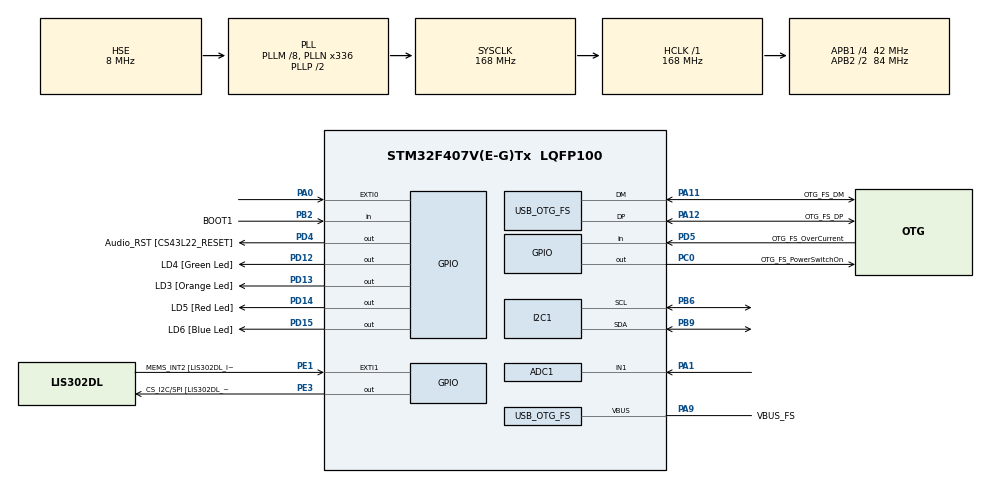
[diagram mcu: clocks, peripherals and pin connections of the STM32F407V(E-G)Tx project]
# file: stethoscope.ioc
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ADC1.Channel-0\#ChannelRegularConversion=ADC_CHANNEL_1
ADC1.DMAContinuousRequests=ENABLE
ADC1.ExternalTrigConv=ADC_EXTERNALTRIGCONV_T2_TRGO
ADC1.InjNumberOfConversion=0
ADC1.NbrOfConversion=1
ADC1.NbrOfConversionFlag=1
ADC1.Rank-0\#ChannelRegularConversion=1
ADC1.SamplingTime-0\#ChannelRegularConversion=ADC_SAMPLETIME_480CYCLES
ADC1.master=1
Dma.ADC1.0.Direction=DMA_PERIPH_TO_MEMORY
Dma.ADC1.0.FIFOMode=DMA_FIFOMODE_DISABLE
Dma.ADC1.0.Instance=DMA2_Stream0
Dma.ADC1.0.MemDataAlignment=DMA_MDATAALIGN_HALFWORD
Dma.ADC1.0.MemInc=DMA_MINC_ENABLE
Dma.ADC1.0.Mode=DMA_CIRCULAR
Dma.ADC1.0.PeriphDataAlignment=DMA_PDATAALIGN_HALFWORD
Dma.ADC1.0.PeriphInc=DMA_PINC_DISABLE
Dma.ADC1.0.Priority=DMA_PRIORITY_MEDIUM
Dma.I2C1_TX.1.Direction=DMA_MEMORY_TO_PERIPH
Dma.I2C1_TX.1.FIFOMode=DMA_FIFOMODE_DISABLE
Dma.I2C1_TX.1.Instance=DMA1_Stream6
Dma.I2C1_TX.1.MemDataAlignment=DMA_MDATAALIGN_BYTE
Dma.I2C1_TX.1.MemInc=DMA_MINC_ENABLE
Dma.I2C1_TX.1.Mode=DMA_NORMAL
Dma.I2C1_TX.1.PeriphDataAlignment=DMA_PDATAALIGN_BYTE
Dma.I2C1_TX.1.PeriphInc=DMA_PINC_DISABLE
Dma.I2C1_TX.1.Priority=DMA_PRIORITY_LOW
Dma.Request0=ADC1
Dma.Request1=I2C1_TX
Mcu.Family=STM32F4
Mcu.Name=STM32F407V(E-G)Tx
Mcu.Package=LQFP100
NVIC.ADC_IRQn=true\:0\:0\:false\:false\:true\:true\:true\:true
NVIC.DMA1_Stream6_IRQn=true\:0\:0\:false\:false\:true\:false\:true\:true
NVIC.DMA2_Stream0_IRQn=true\:0\:0\:false\:false\:true\:false\:true\:true
NVIC.EXTI0_IRQn=true\:0\:0\:false\:false\:true\:true\:true\:true
NVIC.I2C1_ER_IRQn=true\:0\:0\:false\:false\:true\:true\:true\:true
NVIC.I2C1_EV_IRQn=true\:0\:0\:false\:false\:true\:true\:true\:true
NVIC.OTG_FS_IRQn=true\:0\:0\:false\:false\:true\:true\:true\:true
NVIC.PriorityGroup=NVIC_PRIORITYGROUP_0
NVIC.TIM2_IRQn=true\:0\:0\:false\:false\:true\:true\:true\:true
PA0-WKUP.GPIO_PuPd=GPIO_PULLDOWN
PA0-WKUP.Signal=GPXTI0
PA1.Signal=ADCx_IN1
PA10.GPIO_Label=OTG_FS_ID
PA10.GPIO_Mode=GPIO_MODE_AF_PP
PA10.GPIO_PuPd=GPIO_NOPULL
PA10.GPIO_Speed=GPIO_SPEED_FREQ_LOW
PA10.Signal=USB_OTG_FS_ID
PA11.GPIO_Label=OTG_FS_DM
PA11.GPIO_Mode=GPIO_MODE_AF_PP
PA11.GPIO_PuPd=GPIO_NOPULL
PA11.GPIO_Speed=GPIO_SPEED_FREQ_LOW
PA11.Mode=Host_Only
PA11.Signal=USB_OTG_FS_DM
PA12.GPIO_Label=OTG_FS_DP
PA12.GPIO_Mode=GPIO_MODE_AF_PP
PA12.GPIO_PuPd=GPIO_NOPULL
PA12.GPIO_Speed=GPIO_SPEED_FREQ_LOW
PA12.Mode=Host_Only
PA12.Signal=USB_OTG_FS_DP
PA13.GPIO_Label=SWDIO
PA13.Mode=Serial_Wire
PA13.Signal=SYS_JTMS-SWDIO
PA14.GPIO_Label=SWCLK
PA14.Mode=Serial_Wire
PA14.Signal=SYS_JTCK-SWCLK
PA4.GPIO_Label=I2S3_WS [CS43L22_LRCK]
PA4.GPIO_Mode=GPIO_MODE_AF_PP
PA4.GPIO_PuPd=GPIO_NOPULL
PA4.GPIO_Speed=GPIO_SPEED_FREQ_LOW
PA4.Signal=I2S3_WS
PA5.GPIO_Label=SPI1_SCK [LIS302DL_SCL/SPC]
PA5.GPIO_Mode=GPIO_MODE_AF_PP
PA5.GPIO_PuPd=GPIO_NOPULL
PA5.GPIO_Speed=GPIO_SPEED_FREQ_LOW
PA5.Signal=SPI1_SCK
PA6.GPIO_Label=SPI1_MISO [LIS302DL_SDO]
PA6.GPIO_Mode=GPIO_MODE_AF_PP
PA6.GPIO_PuPd=GPIO_NOPULL
PA6.GPIO_Speed=GPIO_SPEED_FREQ_LOW
PA6.Signal=SPI1_MISO
PA7.GPIO_Label=SPI1_MOSI [LIS302DL_SDA/SDI/SDO]
PA7.GPIO_Mode=GPIO_MODE_AF_PP
PA7.GPIO_PuPd=GPIO_NOPULL
PA7.GPIO_Speed=GPIO_SPEED_FREQ_LOW
PA7.Signal=SPI1_MOSI
PA9.GPIO_Label=VBUS_FS
PA9.GPIO_Mode=GPIO_MODE_INPUT
PA9.GPIO_PuPd=GPIO_NOPULL
PA9.Mode=Activate_VBUS
PA9.Signal=USB_OTG_FS_VBUS
PB10.GPIO_Label=CLK_IN [MP45DT02_CLK]
PB10.GPIO_Mode=GPIO_MODE_AF_PP
PB10.GPIO_PuPd=GPIO_NOPULL
PB10.GPIO_Speed=GPIO_SPEED_FREQ_LOW
PB10.Signal=I2S2_CK
PB2.GPIO_Label=BOOT1
PB2.GPIO_Mode=GPIO_MODE_INPUT
PB2.GPIO_PuPd=GPIO_NOPULL
PB2.Signal=GPIO_Input
PB3.GPIO_Label=SWO
PB3.Signal=SYS_JTDO-SWO
PB6.Mode=I2C
PB6.Signal=I2C1_SCL
PB9.Mode=I2C
PB9.Signal=I2C1_SDA
PC0.GPIO_Label=OTG_FS_PowerSwitchOn
PC0.GPIO_PuPd=GPIO_NOPULL
PC0.GPIO_Speed=GPIO_SPEED_FREQ_LOW
PC0.PinState=GPIO_PIN_SET
PC0.Signal=GPIO_Output
PC10.GPIO_Label=I2S3_SCK [CS43L22_SCLK]
PC10.GPIO_Mode=GPIO_MODE_AF_PP
PC10.GPIO_PuPd=GPIO_NOPULL
PC10.GPIO_Speed=GPIO_SPEED_FREQ_LOW
PC10.Signal=I2S3_CK
PC12.GPIO_Label=I2S3_SD [CS43L22_SDIN]
PC12.GPIO_Mode=GPIO_MODE_AF_PP
PC12.GPIO_PuPd=GPIO_NOPULL
PC12.GPIO_Speed=GPIO_SPEED_FREQ_LOW
PC12.Signal=I2S3_SD
PC14-OSC32_IN.GPIO_Label=PC14-OSC32_IN
PC14-OSC32_IN.Mode=LSE-External-Oscillator
PC14-OSC32_IN.Signal=RCC_OSC32_IN
PC15-OSC32_OUT.GPIO_Label=PC15-OSC32_OUT
PC15-OSC32_OUT.Mode=LSE-External-Oscillator
PC15-OSC32_OUT.Signal=RCC_OSC32_OUT
PC3.GPIO_Label=PDM_OUT [MP45DT02_DOUT]
PC3.GPIO_Mode=GPIO_MODE_AF_PP
PC3.GPIO_PuPd=GPIO_NOPULL
PC3.GPIO_Speed=GPIO_SPEED_FREQ_LOW
PC3.Signal=I2S2_SD
PC7.GPIO_Label=I2S3_MCK [CS43L22_MCLK]
PC7.GPIO_Mode=GPIO_MODE_AF_PP
PC7.GPIO_PuPd=GPIO_NOPULL
PC7.GPIO_Speed=GPIO_SPEED_FREQ_LOW
PC7.Signal=I2S3_MCK
PD12.GPIO_Label=LD4 [Green Led]
PD12.GPIO_PuPd=GPIO_NOPULL
PD12.GPIO_Speed=GPIO_SPEED_FREQ_LOW
PD12.Signal=GPIO_Output
PD13.GPIO_Label=LD3 [Orange Led]
PD13.GPIO_PuPd=GPIO_NOPULL
PD13.GPIO_Speed=GPIO_SPEED_FREQ_LOW
PD13.Signal=GPIO_Output
PD14.GPIO_Label=LD5 [Red Led]
PD14.GPIO_PuPd=GPIO_NOPULL
PD14.GPIO_Speed=GPIO_SPEED_FREQ_LOW
PD14.Signal=GPIO_Output
PD15.GPIO_Label=LD6 [Blue Led]
PD15.GPIO_PuPd=GPIO_NOPULL
PD15.GPIO_Speed=GPIO_SPEED_FREQ_LOW
PD15.Signal=GPIO_Output
PD4.GPIO_Label=Audio_RST [CS43L22_RESET]
PD4.GPIO_PuPd=GPIO_NOPULL
PD4.GPIO_Speed=GPIO_SPEED_FREQ_LOW
PD4.Signal=GPIO_Output
PD5.GPIO_Label=OTG_FS_OverCurrent
PD5.GPIO_Mode=GPIO_MODE_INPUT
PD5.GPIO_PuPd=GPIO_NOPULL
PD5.Signal=GPIO_Input
PE1.GPIO_Label=MEMS_INT2 [LIS302DL_INT2]
PE1.GPIO_ModeDefaultEXTI=GPIO_MODE_EVT_RISING
PE1.GPIO_PuPd=GPIO_NOPULL
PE1.Signal=GPXTI1
PE3.GPIO_Label=CS_I2C/SPI [LIS302DL_CS_I2C/SPI]
PE3.GPIO_PuPd=GPIO_NOPULL
PE3.GPIO_Speed=GPIO_SPEED_FREQ_LOW
PE3.Signal=GPIO_Output
PH0-OSC_IN.GPIO_Label=PH0-OSC_IN
PH0-OSC_IN.Mode=HSE-External-Oscillator
PH0-OSC_IN.Signal=RCC_OSC_IN
PH1-OSC_OUT.GPIO_Label=PH1-OSC_OUT
PH1-OSC_OUT.Mode=HSE-External-Oscillator
PH1-OSC_OUT.Signal=RCC_OSC_OUT
ProjectManager.HeapSize=0x200
ProjectManager.StackSize=0x400
ProjectManager.TargetToolchain=STM32CubeIDE
RCC.48MHZClocksFreq_Value=48000000
RCC.AHBFreq_Value=168000000
RCC.APB1CLKDivider=RCC_HCLK_DIV4
RCC.APB1Freq_Value=42000000
RCC.APB1TimFreq_Value=84000000
RCC.APB2CLKDivider=RCC_HCLK_DIV2
RCC.APB2Freq_Value=84000000
RCC.APB2TimFreq_Value=168000000
RCC.CortexFreq_Value=168000000
RCC.HCLKFreq_Value=168000000
RCC.HSE_VALUE=8000000
RCC.HSI_VALUE=16000000
RCC.PLLM=8
RCC.PLLN=336
RCC.PLLQ=7
RCC.SYSCLKFreq_VALUE=168000000
RCC.SYSCLKSource=RCC_SYSCLKSOURCE_PLLCLK
RCC.VCOOutputFreq_Value=336000000
SH.ADCx_IN1.0=ADC1_IN1,IN1
TIM2.Period=249
TIM2.Prescaler=83
TIM2.TIM_MasterOutputTrigger=TIM_TRGO_UPDATE
TIM2.TIM_MasterSlaveMode=TIM_MASTERSLAVEMODE_DISABLE
USB_HOST.BSP.number=1
USB_HOST.USBH_HandleTypeDef-CDC_FS=hUsbHostFS
USB_HOST.VirtualModeFS=Cdc
USB_HOST0.BSP.STBoard=false
USB_HOST0.BSP.api=Unknown
USB_HOST0.BSP.instance=PC0
USB_HOST0.BSP.ip=GPIO
USB_HOST0.BSP.mode=Output
USB_HOST0.BSP.name=Drive_VBUS_FS
USB_HOST0.BSP.solution=PC0
USB_OTG_FS.VirtualMode=Host_Only
USB_OTG_FS.phy_itface=HCD_PHY_EMBEDDED
VP_TIM2_VS_ClockSourceINT.Mode=Internal
VP_USB_HOST_VS_USB_HOST_CDC_FS.Mode=CDC_FS
board=STM32F407G-DISC1

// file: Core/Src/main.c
/* USER CODE BEGIN Header */
/**
  ******************************************************************************
  * @file           : main.c
  * @brief          : Main program body
  ******************************************************************************
  * @attention
  *
  * Copyright (c) 2026 STMicroelectronics.
  * All rights reserved.
  *
  * This software is licensed under terms that can be found in the LICENSE file
  * in the root directory of this software component.
  * If no LICENSE file comes with this software, it is provided AS-IS.
  *
  ******************************************************************************
  */
/* USER CODE END Header */
#include "main.h"
#include "usb_host.h"

/* USER CODE BEGIN Includes */
#include "ssd1306.h"
#include "ssd1306_fonts.h"
#include <string.h>
#include <stdio.h>

#define SSD1306_INCLUDE_FONT_7x10
//#include "ssd1306.c"
/* USER CODE END Includes */

ADC_HandleTypeDef hadc1;
DMA_HandleTypeDef hdma_adc1;

I2C_HandleTypeDef hi2c1;
DMA_HandleTypeDef hdma_i2c1_tx;

TIM_HandleTypeDef htim2;

/* USER CODE BEGIN PV */

uint32_t last_beat_time = 0;
uint16_t current_bpm = 0;
uint8_t beat_lockout = 0;
uint32_t beat_intervals[4] = {0, 0, 0, 0};
uint8_t beat_index = 0;
uint16_t display_bpm = 0;

/* USER CODE END PV */

void SystemClock_Config(void);
static void MX_GPIO_Init(void);
static void MX_DMA_Init(void);
static void MX_ADC1_Init(void);
static void MX_TIM2_Init(void);
static void MX_I2C1_Init(void);
void MX_USB_HOST_Process(void);

/* USER CODE BEGIN 0 */
int32_t raw_val;
int32_t centered;
int32_t current_center;
uint16_t processed_samples[128];
uint16_t heart_buffer[1000];
float filtered_value = 1800.0f;
float alpha = 0.01f;
volatile uint8_t data_ready = 0;
volatile int16_t current_gain = 2;

void Process_Heartbeat(uint16_t raw_sample) {
    // Basic Low-Pass Filter logic
    filtered_value = (alpha * raw_sample) + ((1.0f - alpha) * filtered_value);
}

void HAL_ADC_ConvHalfCpltCallback(ADC_HandleTypeDef* hadc) {
	if(hadc->Instance == ADC1) {
		for(int i = 0; i < 500; i++) {
			Process_Heartbeat(heart_buffer[i]);
		}
	}
}

void HAL_ADC_ConvCpltCallback(ADC_HandleTypeDef* hadc) {
    if(hadc->Instance == ADC1) {
        int sample_count = 0;

        for(int i = 0; i < 1000; i++) {
            Process_Heartbeat(heart_buffer[i]);

            if (i % 7 == 0 && sample_count < 128) {
                processed_samples[sample_count] = (uint16_t)filtered_value;
                sample_count++;
            }
        }
        data_ready = 1;
        //HAL_GPIO_TogglePin(GPIOD, GPIO_PIN_12);
    }
}

void HAL_GPIO_EXTI_Callback(uint16_t GPIO_Pin) {
    if (GPIO_Pin == GPIO_PIN_0) {
    	if (current_gain == 2) current_gain = 4;
    	else if (current_gain == 4) current_gain = 8;
    	else if (current_gain == 8) current_gain = 1;
    	else current_gain = 2;
    }
}

/* USER CODE END 0 */

int main(void)
{

  /* MCU Configuration--------------------------------------------------------*/

  /* Reset of all peripherals, Initializes the Flash interface and the Systick. */
  HAL_Init();

  /* Configure the system clock */
  SystemClock_Config();

  /* Initialize all configured peripherals */
  MX_GPIO_Init();
  MX_DMA_Init();
  MX_ADC1_Init();
  MX_TIM2_Init();
  MX_USB_HOST_Init();
  MX_I2C1_Init();
  /* USER CODE BEGIN 2 */

  ssd1306_Init(&hi2c1);
  HAL_Delay(1);

  HAL_TIM_Base_Start(&htim2);

  HAL_ADC_Start_DMA(&hadc1, (uint32_t*)heart_buffer, 1000);
  /* USER CODE END 2 */

  /* Infinite loop */
  /* USER CODE BEGIN WHILE */
  while (1)
  {

	  //Sample drawing and calculating start -------------------------------------
	  int32_t sum = 0;
	  for(int i=0; i<128; i++) sum += processed_samples[i];
	  current_center = sum / 128;
	  while (hi2c1.State != HAL_I2C_STATE_READY);
	  HAL_Delay(1);

	  memset(SSD1306_Buffer, 0, 1024);

	  for(int x = 0; x < 128; x++) {
	  	raw_val = processed_samples[x];

	  	centered = (int32_t)raw_val - current_center;

	  	int16_t y_plot = 32 - (centered * current_gain);

	  	if(y_plot < 0)  y_plot = 0;
	  	if(y_plot > 63) y_plot = 63;

	  	ssd1306_DrawPixel(x, (uint8_t)y_plot, 1);
      }
	  //Sample drawing and calculating end -----------------------------------------

	  //BPM Counter Start -------------------------------------
	  if (HAL_GetTick() - last_beat_time > 3000) {
	      current_bpm = 0;
	  }

	  if (centered > 8 && beat_lockout == 0) {
	      uint32_t now = HAL_GetTick();
	      uint32_t duration = now - last_beat_time;

	      if (duration > 400 && duration < 2000) {
	          current_bpm = 60000 / duration;
	          last_beat_time = now;
	          beat_lockout = 1;

	          HAL_GPIO_TogglePin(GPIOD, GPIO_PIN_13);
	      }
	  }

	  if (centered < 3) {
	      beat_lockout = 0;
	  }

	  char bpm_str[12];
	  sprintf(bpm_str, "~ %d", current_bpm);
	  ssd1306_SetCursor(0, 0); // Top Left
	  ssd1306_WriteString(bpm_str, Font_7x10, 1);
	  //BPM Counter End ------------------------------------------

	  char zoom_str[10];
	  sprintf(zoom_str, "x%d", current_gain);
	  ssd1306_SetCursor(95, 0); // top right
	  ssd1306_WriteString(zoom_str, Font_7x10, 1);

	  ssd1306_UpdateScreen(&hi2c1);

    /* USER CODE END WHILE */
    MX_USB_HOST_Process();

  }
}

void SystemClock_Config(void)
{
  RCC_OscInitTypeDef RCC_OscInitStruct = {0};
  RCC_ClkInitTypeDef RCC_ClkInitStruct = {0};

  /** Configure the main internal regulator output voltage
  */
  __HAL_RCC_PWR_CLK_ENABLE();
  __HAL_PWR_VOLTAGESCALING_CONFIG(PWR_REGULATOR_VOLTAGE_SCALE1);

  /** Initializes the RCC Oscillators according to the specified parameters
  * in the RCC_OscInitTypeDef structure.
  */
  RCC_OscInitStruct.OscillatorType = RCC_OSCILLATORTYPE_HSE;
  RCC_OscInitStruct.HSEState = RCC_HSE_ON;
  RCC_OscInitStruct.PLL.PLLState = RCC_PLL_ON;
  RCC_OscInitStruct.PLL.PLLSource = RCC_PLLSOURCE_HSE;
  RCC_OscInitStruct.PLL.PLLM = 8;
  RCC_OscInitStruct.PLL.PLLN = 336;
  RCC_OscInitStruct.PLL.PLLP = RCC_PLLP_DIV2;
  RCC_OscInitStruct.PLL.PLLQ = 7;
  if (HAL_RCC_OscConfig(&RCC_OscInitStruct) != HAL_OK)
  {
    Error_Handler();
  }

  /** Initializes the CPU, AHB and APB buses clocks
  */
  RCC_ClkInitStruct.ClockType = RCC_CLOCKTYPE_HCLK|RCC_CLOCKTYPE_SYSCLK
                              |RCC_CLOCKTYPE_PCLK1|RCC_CLOCKTYPE_PCLK2;
  RCC_ClkInitStruct.SYSCLKSource = RCC_SYSCLKSOURCE_PLLCLK;
  RCC_ClkInitStruct.AHBCLKDivider = RCC_SYSCLK_DIV1;
  RCC_ClkInitStruct.APB1CLKDivider = RCC_HCLK_DIV4;
  RCC_ClkInitStruct.APB2CLKDivider = RCC_HCLK_DIV2;

  if (HAL_RCC_ClockConfig(&RCC_ClkInitStruct, FLASH_LATENCY_5) != HAL_OK)
  {
    Error_Handler();
  }
}

static void MX_ADC1_Init(void)
{

  ADC_ChannelConfTypeDef sConfig = {0};

  /** Configure the global features of the ADC (Clock, Resolution, Data Alignment and number of conversion)
  */
  hadc1.Instance = ADC1;
  hadc1.Init.ClockPrescaler = ADC_CLOCK_SYNC_PCLK_DIV4;
  hadc1.Init.Resolution = ADC_RESOLUTION_12B;
  hadc1.Init.ScanConvMode = DISABLE;
  hadc1.Init.ContinuousConvMode = DISABLE;
  hadc1.Init.DiscontinuousConvMode = DISABLE;
  hadc1.Init.ExternalTrigConvEdge = ADC_EXTERNALTRIGCONVEDGE_RISING;
  hadc1.Init.ExternalTrigConv = ADC_EXTERNALTRIGCONV_T2_TRGO;
  hadc1.Init.DataAlign = ADC_DATAALIGN_RIGHT;
  hadc1.Init.NbrOfConversion = 1;
  hadc1.Init.DMAContinuousRequests = ENABLE;
  hadc1.Init.EOCSelection = ADC_EOC_SINGLE_CONV;
  if (HAL_ADC_Init(&hadc1) != HAL_OK)
  {
    Error_Handler();
  }

  /** Configure for the selected ADC regular channel its corresponding rank in the sequencer and its sample time.
  */
  sConfig.Channel = ADC_CHANNEL_1;
  sConfig.Rank = 1;
  sConfig.SamplingTime = ADC_SAMPLETIME_480CYCLES;
  if (HAL_ADC_ConfigChannel(&hadc1, &sConfig) != HAL_OK)
  {
    Error_Handler();
  }

}

static void MX_I2C1_Init(void)
{

  hi2c1.Instance = I2C1;
  hi2c1.Init.ClockSpeed = 100000;
  hi2c1.Init.DutyCycle = I2C_DUTYCYCLE_2;
  hi2c1.Init.OwnAddress1 = 0;
  hi2c1.Init.AddressingMode = I2C_ADDRESSINGMODE_7BIT;
  hi2c1.Init.DualAddressMode = I2C_DUALADDRESS_DISABLE;
  hi2c1.Init.OwnAddress2 = 0;
  hi2c1.Init.GeneralCallMode = I2C_GENERALCALL_DISABLE;
  hi2c1.Init.NoStretchMode = I2C_NOSTRETCH_DISABLE;
  if (HAL_I2C_Init(&hi2c1) != HAL_OK)
  {
    Error_Handler();
  }

}

static void MX_TIM2_Init(void)
{

  TIM_ClockConfigTypeDef sClockSourceConfig = {0};
  TIM_MasterConfigTypeDef sMasterConfig = {0};

  htim2.Instance = TIM2;
  htim2.Init.Prescaler = 83;
  htim2.Init.CounterMode = TIM_COUNTERMODE_UP;
  htim2.Init.Period = 249;
  htim2.Init.ClockDivision = TIM_CLOCKDIVISION_DIV1;
  htim2.Init.AutoReloadPreload = TIM_AUTORELOAD_PRELOAD_DISABLE;
  if (HAL_TIM_Base_Init(&htim2) != HAL_OK)
  {
    Error_Handler();
  }
  sClockSourceConfig.ClockSource = TIM_CLOCKSOURCE_INTERNAL;
  if (HAL_TIM_ConfigClockSource(&htim2, &sClockSourceConfig) != HAL_OK)
  {
    Error_Handler();
  }
  sMasterConfig.MasterOutputTrigger = TIM_TRGO_UPDATE;
  sMasterConfig.MasterSlaveMode = TIM_MASTERSLAVEMODE_DISABLE;
  if (HAL_TIMEx_MasterConfigSynchronization(&htim2, &sMasterConfig) != HAL_OK)
  {
    Error_Handler();
  }

}

static void MX_DMA_Init(void)
{

  /* DMA controller clock enable */
  __HAL_RCC_DMA2_CLK_ENABLE();
  __HAL_RCC_DMA1_CLK_ENABLE();

  /* DMA interrupt init */
  /* DMA1_Stream6_IRQn interrupt configuration */
  HAL_NVIC_SetPriority(DMA1_Stream6_IRQn, 0, 0);
  HAL_NVIC_EnableIRQ(DMA1_Stream6_IRQn);
  /* DMA2_Stream0_IRQn interrupt configuration */
  HAL_NVIC_SetPriority(DMA2_Stream0_IRQn, 0, 0);
  HAL_NVIC_EnableIRQ(DMA2_Stream0_IRQn);

}

static void MX_GPIO_Init(void)
{
  GPIO_InitTypeDef GPIO_InitStruct = {0};

  /* GPIO Ports Clock Enable */
  __HAL_RCC_GPIOE_CLK_ENABLE();
  __HAL_RCC_GPIOC_CLK_ENABLE();
  __HAL_RCC_GPIOH_CLK_ENABLE();
  __HAL_RCC_GPIOA_CLK_ENABLE();
  __HAL_RCC_GPIOB_CLK_ENABLE();
  __HAL_RCC_GPIOD_CLK_ENABLE();

  /*Configure GPIO pin Output Level */
  HAL_GPIO_WritePin(CS_I2C_SPI_GPIO_Port, CS_I2C_SPI_Pin, GPIO_PIN_RESET);

  /*Configure GPIO pin Output Level */
  HAL_GPIO_WritePin(OTG_FS_PowerSwitchOn_GPIO_Port, OTG_FS_PowerSwitchOn_Pin, GPIO_PIN_SET);

  /*Configure GPIO pin Output Level */
  HAL_GPIO_WritePin(GPIOD, LD4_Pin|LD3_Pin|LD5_Pin|LD6_Pin
                          |Audio_RST_Pin, GPIO_PIN_RESET);

  /*Configure GPIO pin : CS_I2C_SPI_Pin */
  GPIO_InitStruct.Pin = CS_I2C_SPI_Pin;
  GPIO_InitStruct.Mode = GPIO_MODE_OUTPUT_PP;
  GPIO_InitStruct.Pull = GPIO_NOPULL;
  GPIO_InitStruct.Speed = GPIO_SPEED_FREQ_LOW;
  HAL_GPIO_Init(CS_I2C_SPI_GPIO_Port, &GPIO_InitStruct);

  /*Configure GPIO pin : OTG_FS_PowerSwitchOn_Pin */
  GPIO_InitStruct.Pin = OTG_FS_PowerSwitchOn_Pin;
  GPIO_InitStruct.Mode = GPIO_MODE_OUTPUT_PP;
  GPIO_InitStruct.Pull = GPIO_NOPULL;
  GPIO_InitStruct.Speed = GPIO_SPEED_FREQ_LOW;
  HAL_GPIO_Init(OTG_FS_PowerSwitchOn_GPIO_Port, &GPIO_InitStruct);

  /*Configure GPIO pin : PDM_OUT_Pin */
  GPIO_InitStruct.Pin = PDM_OUT_Pin;
  GPIO_InitStruct.Mode = GPIO_MODE_AF_PP;
  GPIO_InitStruct.Pull = GPIO_NOPULL;
  GPIO_InitStruct.Speed = GPIO_SPEED_FREQ_LOW;
  GPIO_InitStruct.Alternate = GPIO_AF5_SPI2;
  HAL_GPIO_Init(PDM_OUT_GPIO_Port, &GPIO_InitStruct);

  /*Configure GPIO pin : PA0 */
  GPIO_InitStruct.Pin = GPIO_PIN_0;
  GPIO_InitStruct.Mode = GPIO_MODE_IT_RISING;
  GPIO_InitStruct.Pull = GPIO_PULLDOWN;
  HAL_GPIO_Init(GPIOA, &GPIO_InitStruct);

  /*Configure GPIO pin : I2S3_WS_Pin */
  GPIO_InitStruct.Pin = I2S3_WS_Pin;
  GPIO_InitStruct.Mode = GPIO_MODE_AF_PP;
  GPIO_InitStruct.Pull = GPIO_NOPULL;
  GPIO_InitStruct.Speed = GPIO_SPEED_FREQ_LOW;
  GPIO_InitStruct.Alternate = GPIO_AF6_SPI3;
  HAL_GPIO_Init(I2S3_WS_GPIO_Port, &GPIO_InitStruct);

  /*Configure GPIO pins : SPI1_SCK_Pin SPI1_MISO_Pin SPI1_MOSI_Pin */
  GPIO_InitStruct.Pin = SPI1_SCK_Pin|SPI1_MISO_Pin|SPI1_MOSI_Pin;
  GPIO_InitStruct.Mode = GPIO_MODE_AF_PP;
  GPIO_InitStruct.Pull = GPIO_NOPULL;
  GPIO_InitStruct.Speed = GPIO_SPEED_FREQ_LOW;
  GPIO_InitStruct.Alternate = GPIO_AF5_SPI1;
  HAL_GPIO_Init(GPIOA, &GPIO_InitStruct);

  /*Configure GPIO pin : BOOT1_Pin */
  GPIO_InitStruct.Pin = BOOT1_Pin;
  GPIO_InitStruct.Mode = GPIO_MODE_INPUT;
  GPIO_InitStruct.Pull = GPIO_NOPULL;
  HAL_GPIO_Init(BOOT1_GPIO_Port, &GPIO_InitStruct);

  /*Configure GPIO pin : CLK_IN_Pin */
  GPIO_InitStruct.Pin = CLK_IN_Pin;
  GPIO_InitStruct.Mode = GPIO_MODE_AF_PP;
  GPIO_InitStruct.Pull = GPIO_NOPULL;
  GPIO_InitStruct.Speed = GPIO_SPEED_FREQ_LOW;
  GPIO_InitStruct.Alternate = GPIO_AF5_SPI2;
  HAL_GPIO_Init(CLK_IN_GPIO_Port, &GPIO_InitStruct);

  /*Configure GPIO pins : LD4_Pin LD3_Pin LD5_Pin LD6_Pin
                           Audio_RST_Pin */
  GPIO_InitStruct.Pin = LD4_Pin|LD3_Pin|LD5_Pin|LD6_Pin
                          |Audio_RST_Pin;
  GPIO_InitStruct.Mode = GPIO_MODE_OUTPUT_PP;
  GPIO_InitStruct.Pull = GPIO_NOPULL;
  GPIO_InitStruct.Speed = GPIO_SPEED_FREQ_LOW;
  HAL_GPIO_Init(GPIOD, &GPIO_InitStruct);

  /*Configure GPIO pins : I2S3_MCK_Pin I2S3_SCK_Pin I2S3_SD_Pin */
  GPIO_InitStruct.Pin = I2S3_MCK_Pin|I2S3_SCK_Pin|I2S3_SD_Pin;
  GPIO_InitStruct.Mode = GPIO_MODE_AF_PP;
  GPIO_InitStruct.Pull = GPIO_NOPULL;
  GPIO_InitStruct.Speed = GPIO_SPEED_FREQ_LOW;
  GPIO_InitStruct.Alternate = GPIO_AF6_SPI3;
  HAL_GPIO_Init(GPIOC, &GPIO_InitStruct);

  /*Configure GPIO pin : OTG_FS_OverCurrent_Pin */
  GPIO_InitStruct.Pin = OTG_FS_OverCurrent_Pin;
  GPIO_InitStruct.Mode = GPIO_MODE_INPUT;
  GPIO_InitStruct.Pull = GPIO_NOPULL;
  HAL_GPIO_Init(OTG_FS_OverCurrent_GPIO_Port, &GPIO_InitStruct);

  /*Configure GPIO pin : MEMS_INT2_Pin */
  GPIO_InitStruct.Pin = MEMS_INT2_Pin;
  GPIO_InitStruct.Mode = GPIO_MODE_EVT_RISING;
  GPIO_InitStruct.Pull = GPIO_NOPULL;
  HAL_GPIO_Init(MEMS_INT2_GPIO_Port, &GPIO_InitStruct);

  /* EXTI interrupt init*/
  HAL_NVIC_SetPriority(EXTI0_IRQn, 0, 0);
  HAL_NVIC_EnableIRQ(EXTI0_IRQn);

}

void Error_Handler(void)
{
  __disable_irq();
  while (1)
  {
  }
}
